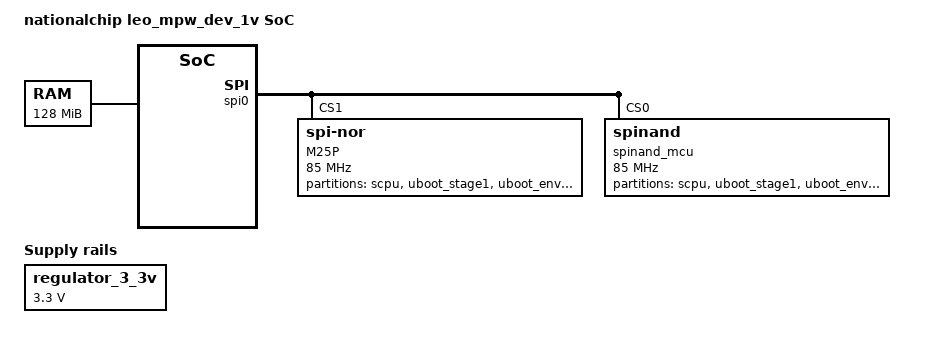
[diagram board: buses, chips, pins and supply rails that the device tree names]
/*
 *  Copyright (C) 2013 Steffen Trumtrar <s.trumtrar@pengutronix.de>
 *
 * This program is free software; you can redistribute it and/or modify
 * it under the terms of the GNU General Public License as published by
 * the Free Software Foundation; either version 2 of the License, or
 * (at your option) any later version.
 *
 * This program is distributed in the hope that it will be useful,
 * but WITHOUT ANY WARRANTY; without even the implied warranty of
 * MERCHANTABILITY or FITNESS FOR A PARTICULAR PURPOSE.  See the
 * GNU General Public License for more details.
 *
 * You should have received a copy of the GNU General Public License
 * along with this program.  If not, see <http://www.gnu.org/licenses/>.
 */

/dts-v1/;
/* First 4KB has trampoline code for secondary cores. */
/* /memreserve/ 0x00000000 0x0001000; */

#include "leo_mpw.dtsi"

/ {
	model = "nationalchip leo_mpw_dev_1v SoC";
	compatible = "nationalchip,leo_mpw_dev_1v", "nationalchip,leo";

	chosen {
		bootargs = "earlyprintk";
		stdout-path = "serial0:115200n8";
	};

	memory {
		name = "memory";
		device_type = "memory";
		reg = <0x10000000 0x8000000>;
	};

	aliases {
		/* this allow the ethaddr uboot environmnet variable contents
		 * to be added to the gmac1 device tree blob.
		 */
	};

	regulator_3_3v: vcc3p3-regulator {
		compatible = "regulator-fixed";
		regulator-name = "VCC3P3";
		regulator-min-microvolt = <3300000>;
		regulator-max-microvolt = <3300000>;
	};

	a7_key:a7_key@0x2305008{
		compatible = "nationalchip,LEO-keypad";
		reg = <0x2305008 0x90>;
		autorepeat;

		key1:key1{
			key_code  = <KEY_VOLUMEUP>;
			key_gpio = <0>;
		};
	};

	csky_key:csky_key@0x305004{
		compatible = "nationalchip,LEO-keypad";
		reg = <0x305004 0x90>;
		autorepeat;

        key5:key2{
			key_code  = <KEY_VOLUMEDOWN>;
			key_gpio = <12>;
		};
        key6:key3{
			key_code  = <KEY_MUTE>;
			key_gpio = <13>;
		};
        key7:key4{
			key_code  = <KEY_HOME>;
			key_gpio = <14>;
		};
	};
};

&spi0{
	status = "okay";
	/* spi nor flash */
	M25P@0 {
		compatible = "jedec,spi-nor";
		spi-max-frequency = <85000000>;
		reg = <1>;
		status = "okay";

		partitions {
			#address-cells = <1>;
			#size-cells = <1>;
			compatible = "fixed-partitions";
			scpu {		reg = <0x000000 0x100000>; };
			uboot_stage1 {	reg = <0x100000 0x40000>;  };
			uboot_env {	reg = <0x140000 0x40000>;  };
			uboot_stage2 {	reg = <0x180000 0x80000>;  };
			boot_music {	reg = <0x200000 0x80000>;  };
			kernel_dtb {	reg = <0x280000 0x80000>;  };
			kernel {	reg = <0x300000 0x500000>; };
		};
	};

	/* spi nand flash */
	spinand_mcu@0 {
		compatible = "spinand";
		spi-max-frequency = <85000000>;
		reg = <0>;
		status = "okay";

		partitions {
			#address-cells = <1>;
			#size-cells = <1>;
			compatible = "fixed-partitions";
			scpu {		reg = <0x000000 0x100000>; };
			uboot_stage1 {	reg = <0x100000 0x40000>;  };
			uboot_env {	reg = <0x140000 0x40000>;  };
			uboot_stage2 {	reg = <0x180000 0x80000>;  };
			boot_music {	reg = <0x200000 0x80000>;  };
			kernel_dtb {	reg = <0x280000 0x80000>;  };
			kernel {	reg = <0x300000 0x700000>; };
			rootfs {	reg = <0xa00000 0x7600000>;};
		};
	};
};

